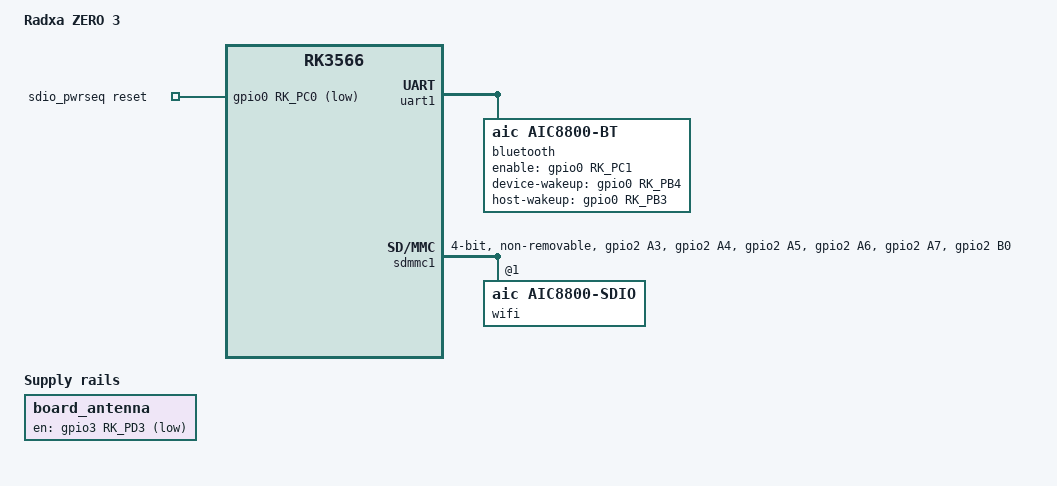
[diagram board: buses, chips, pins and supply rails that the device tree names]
// SPDX-License-Identifier: (GPL-2.0+ OR MIT)
/*
 * Copyright (c) 2022 Rockchip Electronics Co., Ltd.
 * Copyright (c) 2023 Radxa Limited.
 *
 */

/dts-v1/;

#include "rk3566-radxa-zero3.dtsi"

/ {
	model = "Radxa ZERO 3";
	compatible ="radxa,zero3-aic8800ds2", "rockchip,rk3566";

	sdio_pwrseq: sdio-pwrseq {
		compatible = "mmc-pwrseq-simple";
		pinctrl-names = "default";
		pinctrl-0 = <&wifi_enable_h>;
		reset-gpios = <&gpio0 RK_PC0 GPIO_ACTIVE_LOW>;
	};

	board_antenna: board-antenna {
		status = "okay";
		compatible = "regulator-fixed";
		enable-active-low;
		gpio = <&gpio3 RK_PD3 GPIO_ACTIVE_LOW>;
		regulator-always-on;
		regulator-boot-on;
		pinctrl-0 = <&ant_1>;
		pinctrl-names = "default";
		regulator-name = "board_antenna";
	};
};

&uart1 {
	status = "okay";
	pinctrl-names = "default";
	/* RTS is required for hardware flow control; the AIC8800 BT firmware
	 * is configured with flow control enabled (uart_flowctrl=1).
	 */
	pinctrl-0 = <&uart1m0_xfer &uart1m0_ctsn &uart1m0_rtsn>;

	bluetooth {
		compatible = "aic,aic8800-bt";
		enable-gpios = <&gpio0 RK_PC1 GPIO_ACTIVE_HIGH>;       /* BT_REG_ON */
		device-wakeup-gpios = <&gpio0 RK_PB4 GPIO_ACTIVE_HIGH>; /* HOST_WAKE_BT */
		host-wakeup-gpios = <&gpio0 RK_PB3 GPIO_ACTIVE_HIGH>;   /* BT_WAKE_HOST */
		max-speed = <1500000>;
		post-power-on-delay-ms = <100>;
	};
};

&sdmmc1 {
	#address-cells = <1>;
	#size-cells = <0>;
	supports-sdio;
	bus-width = <4>;
	disable-wp;
	cap-sd-highspeed;
	cap-sdio-irq;
	keep-power-in-suspend;
	non-removable;
	rockchip,default-sample-phase = <180>;
	mmc-pwrseq = <&sdio_pwrseq>;
	non-removable;
	no-sd;
	no-mmc;
	pinctrl-names = "default";
	pinctrl-0 = <&sdmmc1_bus4 &sdmmc1_cmd &sdmmc1_clk>;
	sd-uhs-sdr104;
	status = "okay";

	wifi@1 {
		compatible = "aic,aic8800-sdio";
		reg = <1>;
	};
};

&pinctrl {
	wifi {
		wifi_enable_h: wifi-enable-h {
			rockchip,pins = <0 RK_PC0 RK_FUNC_GPIO &pcfg_pull_none>;
		};

	};

	sdmmc1 {
		/omit-if-no-ref/
		sdmmc1_bus4: sdmmc1-bus4 {
			rockchip,pins =
				/* sdmmc1_d0 */
				<2 RK_PA3 1 &pcfg_pull_up_drv_level_12>,
				/* sdmmc1_d1 */
				<2 RK_PA4 1 &pcfg_pull_up_drv_level_12>,
				/* sdmmc1_d2 */
				<2 RK_PA5 1 &pcfg_pull_up_drv_level_12>,
				/* sdmmc1_d3 */
				<2 RK_PA6 1 &pcfg_pull_up_drv_level_12>;
		};

		/omit-if-no-ref/
		sdmmc1_clk: sdmmc1-clk {
			rockchip,pins =
				/* sdmmc1_clk */
				<2 RK_PB0 1 &pcfg_pull_up_drv_level_12>;
		};

		/omit-if-no-ref/
		sdmmc1_cmd: sdmmc1-cmd {
			rockchip,pins =
				/* sdmmc1_cmd */
				<2 RK_PA7 1 &pcfg_pull_up_drv_level_12>;
		};

		/omit-if-no-ref/
		sdmmc1_det: sdmmc1-det {
			rockchip,pins =
				/* sdmmc1_det */
				<2 RK_PB2 1 &pcfg_pull_up>;
		};

		/omit-if-no-ref/
		sdmmc1_pwren: sdmmc1-pwren {
			rockchip,pins =
				/* sdmmc1_pwren */
				<2 RK_PB1 1 &pcfg_pull_none>;
		};
	};

	antenna {
		ant_1: ant-1 {
			rockchip,pins = <3 RK_PD3 RK_FUNC_GPIO &pcfg_pull_down>;
		};
	};
};
